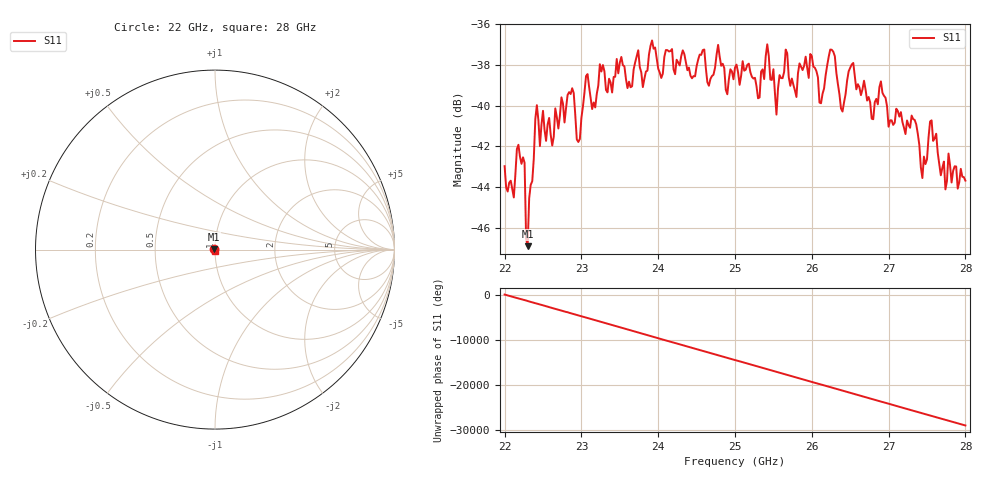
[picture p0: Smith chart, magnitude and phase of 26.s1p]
#  HZ  S  RI  R  50.00
! Rohde & Schwarz ZVA40 4Ports - Version 3.90 - 1145.1110k42 SN: 100403
! Date: 2023-10-04 06:05:20
! Measurement: S12
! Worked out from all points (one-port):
!   301 points, 22 GHz to 28 GHz, reference 50 ohm
!   lowest |S11| = -46.9 dB at 22.3 GHz (marker M1), VSWR 1.01, Z = 49.6 + j0.0737 ohm
!   |S11| at or under -10 dB: start of sweep to end of sweep
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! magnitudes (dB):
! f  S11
! 22 GHz  -43.0
! 22.12 GHz  -44.5
! 22.16 GHz  -42.1
! 22.24 GHz  -42.5
! 22.3 GHz  -46.9
! 22.42 GHz  -40.0
! 22.62 GHz  -42.0
! 22.76 GHz  -39.9
! 22.88 GHz  -39.2
! 22.96 GHz  -41.8
! 23.06 GHz  -38.6
! 23.14 GHz  -40.2
! 23.5 GHz  -37.9
! 24.26 GHz  -37.9
! 25 GHz  -38.1
! 25.42 GHz  -37.0
! 25.54 GHz  -40.4
! 25.76 GHz  -39.0
! 25.98 GHz  -37.5
! 26.12 GHz  -39.9
! 26.26 GHz  -37.3
! 26.4 GHz  -40.3
! 26.5 GHz  -38.1
! 27.26 GHz  -41.0
! 27.44 GHz  -43.6
! 27.56 GHz  -40.7
! 27.74 GHz  -44.1
! 28 GHz  -43.7
